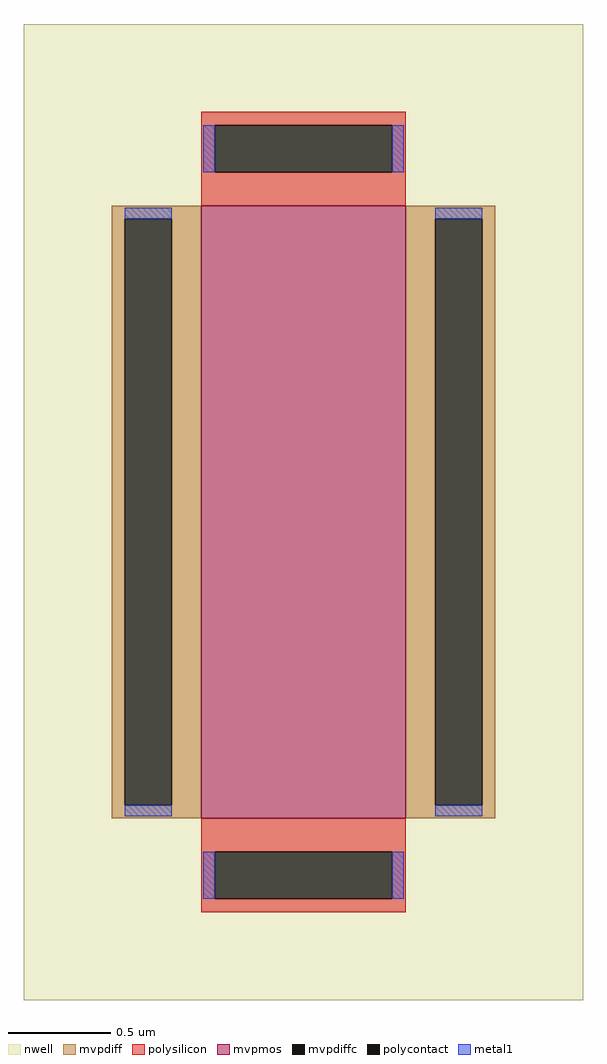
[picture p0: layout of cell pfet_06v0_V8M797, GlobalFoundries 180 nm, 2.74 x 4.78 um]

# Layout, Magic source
magic
tech gf180mcuD
magscale 1 10
<< nwell >>
rect -274 -478 274 478
<< mvpmos >>
rect -100 -300 100 300
<< mvpdiff >>
rect -188 287 -100 300
rect -188 -287 -175 287
rect -129 -287 -100 287
rect -188 -300 -100 -287
rect 100 287 188 300
rect 100 -287 129 287
rect 175 -287 188 287
rect 100 -300 188 -287
<< mvpdiffc >>
rect -175 -287 -129 287
rect 129 -287 175 287
<< polysilicon >>
rect -100 379 100 392
rect -100 333 -87 379
rect 87 333 100 379
rect -100 300 100 333
rect -100 -333 100 -300
rect -100 -379 -87 -333
rect 87 -379 100 -333
rect -100 -392 100 -379
<< polycontact >>
rect -87 333 87 379
rect -87 -379 87 -333
<< metal1 >>
rect -98 333 -87 379
rect 87 333 98 379
rect -175 287 -129 298
rect -175 -298 -129 -287
rect 129 287 175 298
rect 129 -298 175 -287
rect -98 -379 -87 -333
rect 87 -379 98 -333
<< properties >>
string gencell pfet_06v0
string library gf180mcu
string parameters w 3.0 l 1.0 m 1 nf 1 diffcov 100 polycov 100 guard 0 glc 1 grc 1 gtc 0 gbc 0 tbcov 100 rlcov 100 topc 1 botc 1 poverlap 0 doverlap 1 lmin 0.55 wmin 0.3 class mosfet full_metal 1 compatible {pfet_03v3 pfet_05v0 pfet_06v0}
<< end >>
